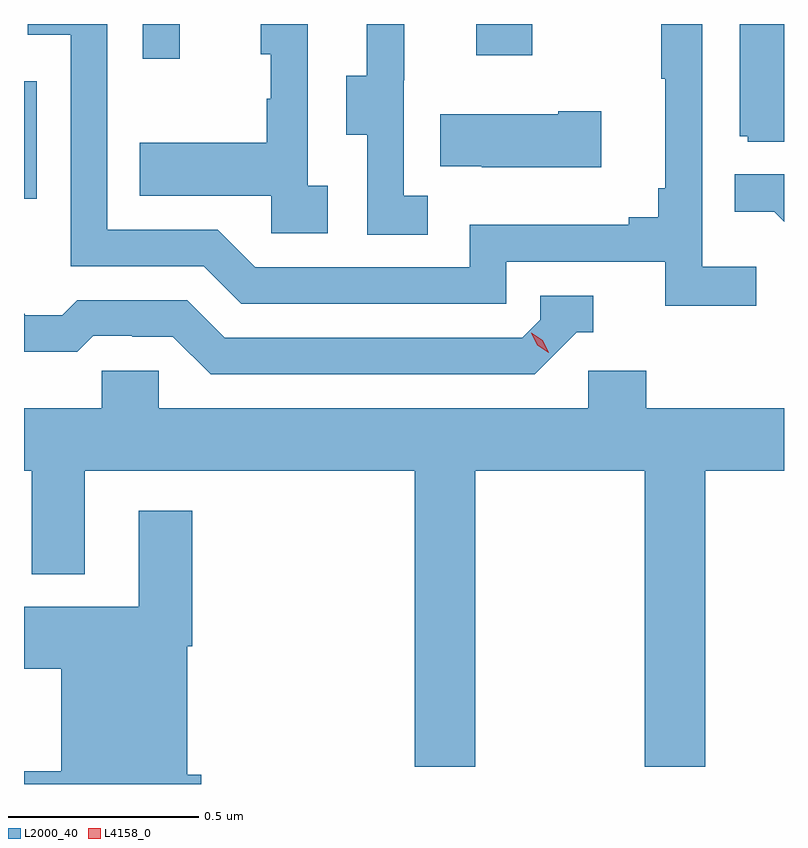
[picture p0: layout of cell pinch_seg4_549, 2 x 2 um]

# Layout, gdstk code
import gdstk
lib = gdstk.Library(unit=1e-6, precision=1e-09)
def R(c, l, rs):  # rectangles x0, y0, x1, y1
    for r in rs: c.add(gdstk.rectangle(r[:2], r[2:], *l))
def P(c, l, *ps):  # polygons
    for p in ps: c.add(gdstk.Polygon(p, *l))
L2000_40 = (2000, 40)
L4158_0 = (4158, 0)

pinch_seg4_549 = lib.new_cell('pinch_seg4_549')
R(pinch_seg4_549, L2000_40, [(1121.169,784.215,1121.202,784.524), (1121.481,784.584,1121.579,784.675), (1122.359,784.593,1122.507,784.675)])
P(pinch_seg4_549, L2000_40, [(1123.169,784.675),(1123.052,784.675),(1123.052,784.38),(1123.074,784.38),(1123.074,784.365),(1123.169,784.365)],
  [(1121.968,784.25),(1121.916,784.25),(1121.916,784.675),(1121.792,784.675),(1121.792,784.596),(1121.818,784.596),(1121.818,784.478),(1121.808,784.478),(1121.808,784.363),(1121.473,784.363),(1121.473,784.223),(1121.82,784.223),(1121.82,784.125),(1121.968,784.125)],
  [(1122.232,784.223),(1122.168,784.223),(1122.168,784.527),(1122.17,784.527),(1122.17,784.675),(1122.071,784.675),(1122.071,784.539),(1122.017,784.539),(1122.017,784.384),(1122.072,784.384),(1122.072,784.12),(1122.232,784.12)],
  [(1123.096,784.036),(1122.954,784.036),(1122.954,784.675),(1122.846,784.675),(1122.846,784.531),(1122.857,784.531),(1122.857,784.243),(1122.838,784.243),(1122.838,784.166),(1122.761,784.166),(1122.761,784.147),(1122.342,784.147),(1122.342,784.035),(1121.778,784.035),(1121.679,784.134),(1121.388,784.134),(1121.388,784.675),(1121.179,784.675),(1121.179,784.647),(1121.292,784.647),(1121.292,784.038),(1121.642,784.038),(1121.741,783.939),(1122.438,783.939),(1122.438,784.05),(1122.857,784.05),(1122.857,783.934),(1123.096,783.934)],
  [(1122.688,784.446),(1122.575,784.446),(1122.575,784.438),(1122.265,784.438),(1122.265,784.301),(1122.373,784.301),(1122.373,784.298),(1122.688,784.298)],
  [(1123.169,784.28),(1123.039,784.28),(1123.039,784.181),(1123.143,784.181),(1123.169,784.155)],
  [(1122.624,783.864),(1122.667,783.864),(1122.667,783.96),(1122.528,783.96),(1122.528,783.897),(1122.48,783.849),(1121.697,783.849),(1121.598,783.948),(1121.309,783.948),(1121.27,783.909),(1121.171,783.909),(1121.171,783.912),(1121.169,783.912),(1121.169,783.813),(1121.309,783.813),(1121.351,783.855),(1121.454,783.855),(1121.454,783.852),(1121.561,783.852),(1121.66,783.753),(1122.513,783.753)],
  [(1122.806,783.762),(1122.654,783.762),(1122.654,783.664),(1121.523,783.664),(1121.523,783.762),(1121.373,783.762),(1121.373,783.664),(1121.169,783.664),(1121.169,783.5),(1121.189,783.5),(1121.189,783.227),(1121.329,783.227),(1121.329,783.5),(1122.197,783.5),(1122.197,782.721),(1122.357,782.721),(1122.357,783.5),(1122.802,783.5),(1122.802,782.721),(1122.962,782.721),(1122.962,783.5),(1123.169,783.5),(1123.169,783.664),(1122.806,783.664)],
  [(1121.636,782.7),(1121.599,782.7),(1121.599,783.038),(1121.612,783.038),(1121.612,783.394),(1121.471,783.394),(1121.471,783.142),(1121.169,783.142),(1121.169,782.978),(1121.267,782.978),(1121.267,782.708),(1121.169,782.708),(1121.169,782.675),(1121.636,782.675)])
P(pinch_seg4_549, L4158_0, [(1122.55,783.81),(1122.519,783.83),(1122.504,783.863),(1122.504,783.863),(1122.504,783.863),(1122.534,783.843),(1122.55,783.81),(1122.55,783.81)])

lib.write_gds('pinch_seg4_549.gds')
